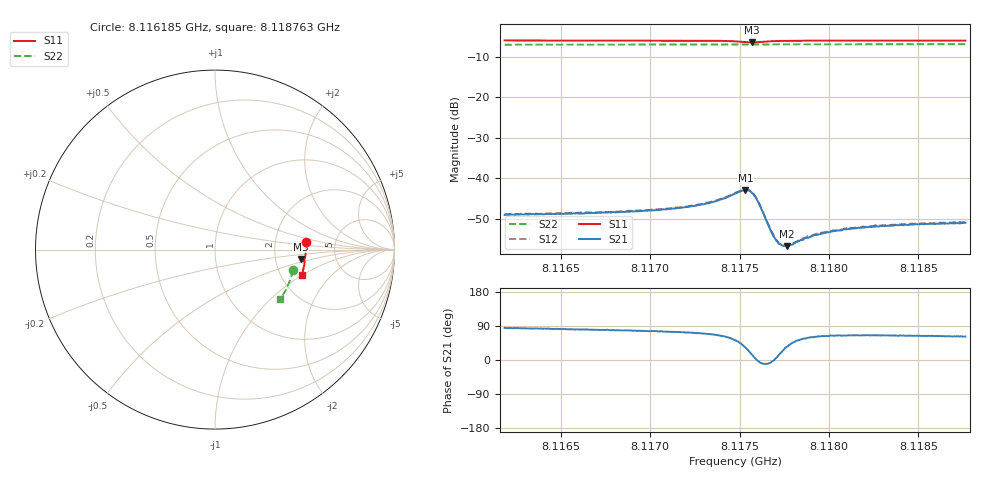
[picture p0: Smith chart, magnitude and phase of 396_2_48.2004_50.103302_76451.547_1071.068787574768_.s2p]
#  HZ  S  RI  R  50.00
! Rohde & Schwarz Vector Network Analyzer
! Rohde-Schwarz,ZNB20-2Port,1311601062101988,3.16
! Created: UTC 3/20/2024, 11:53:49 AM
! freq[Hz]  re:S11  im:S11  re:S21  im:S21  re:S12  im:S12  re:S22  im:S22
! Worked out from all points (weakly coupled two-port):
!   401 points, 8.116185 GHz to 8.118763 GHz, reference 50 ohm
!   highest |S21| = -42.97 dB at 8.117532 GHz (marker M1); lowest = -56.8 dB at 8.117764 GHz (marker M2)
!   lowest |S11| = -6.4 dB at 8.117571 GHz (marker M3), VSWR 2.84, Z = 139 - j19 ohm
!   |S11| at or under -10 dB: nowhere
!   |S22| runs from -7.0 to -6.8 dB; largest |S21 - S12| = 0.00019
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8.1161847e9  0.5051 0.0445  0.000318 0.0035  0.00037 0.00357  0.4345 -0.1136
8.1166166e9  0.5063 0.0119  0.000611 0.00362  0.000659 0.00366  0.4272 -0.1427
8.1170485e9  0.5051 -0.0217  0.00103 0.00392  0.00106 0.00401  0.4177 -0.1712
8.1172032e9  0.5036 -0.0345  0.00134 0.0042  0.00139 0.00422  0.4138 -0.1816
8.1173192e9  0.5013 -0.0451  0.00176 0.00454  0.00183 0.00461  0.4106 -0.1892
8.1174095e9  0.4975 -0.0541  0.00257 0.00495  0.00268 0.00505  0.4081 -0.1949
8.117474e9  0.491 -0.0605  0.00389 0.00511  0.00401 0.00519  0.4059 -0.1991
8.117532e9  0.4805 -0.0606  0.00595 0.00388  0.00611 0.00392  0.4039 -0.2024
8.1175513e9  0.4774 -0.0573  0.00643 0.00279  0.00658 0.00278  0.4033 -0.2034
8.1175707e9  0.4764 -0.0525  0.00639 0.00146  0.00648 0.00143  0.4028 -0.2042
8.1176029e9  0.4811 -0.0463  0.0051 -0.000236  0.00518 -0.000268  0.4024 -0.2061
8.1176738e9  0.4936 -0.0495  0.00222 -0.000262  0.0023 -0.000262  0.4007 -0.2107
8.1176996e9  0.4958 -0.0526  0.00177 0.000114  0.00178 6.18e-05  0.4001 -0.2123
8.1177125e9  0.4965 -0.0542  0.00159 0.000271  0.00164 0.000232  0.3997 -0.2133
8.1177318e9  0.4974 -0.0566  0.00141 0.0005  0.00141 0.000483  0.3991 -0.2144
8.117764e9  0.4982 -0.0602  0.00119 0.000817  0.0012 0.000831  0.3983 -0.2166
8.1178672e9  0.4988 -0.0708  0.001 0.00151  0.00103 0.00151  0.395 -0.2232
8.1179059e9  0.4985 -0.0743  0.000948 0.00167  0.001 0.00169  0.3939 -0.2256
8.1179897e9  0.4978 -0.0815  0.000971 0.00193  0.000981 0.00194  0.391 -0.2309
8.1180928e9  0.4966 -0.0899  0.000997 0.0021  0.001 0.00214  0.3875 -0.2373
8.1183378e9  0.4929 -0.1089  0.00109 0.00232  0.00113 0.00238  0.3788 -0.2522
8.1187632e9  0.4847 -0.1401  0.00132 0.00247  0.00136 0.00253  0.3624 -0.2773
